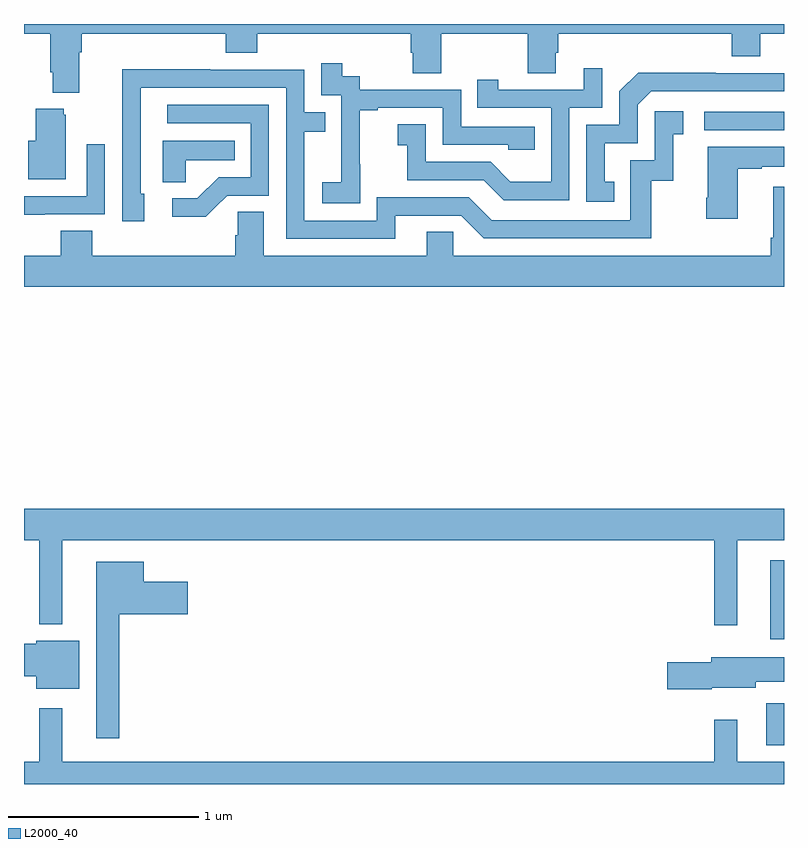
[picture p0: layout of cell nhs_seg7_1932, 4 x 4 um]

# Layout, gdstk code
import gdstk
lib = gdstk.Library(unit=1e-6, precision=1e-09)
def R(c, l, rs):  # rectangles x0, y0, x1, y1
    for r in rs: c.add(gdstk.rectangle(r[:2], r[2:], *l))
def P(c, l, *ps):  # polygons
    for p in ps: c.add(gdstk.Polygon(p, *l))
L2000_40 = (2000, 40)

nhs_seg7_1932 = lib.new_cell('nhs_seg7_1932')
R(nhs_seg7_1932, L2000_40, [(244.907,998.205,245,998.425), (244.928,998.762,245,999.178), (244.581,1001.442,245,1001.538)])
P(nhs_seg7_1932, L2000_40, [(241.291,1001.852),(241.304,1001.852),(241.304,1001.948),(242.063,1001.948),(242.063,1001.849),(242.228,1001.849),(242.228,1001.948),(243.035,1001.948),(243.035,1001.85),(243.047,1001.85),(243.047,1001.74),(243.195,1001.74),(243.195,1001.948),(243.652,1001.948),(243.652,1001.74),(243.799,1001.74),(243.799,1001.85),(243.812,1001.85),(243.812,1001.948),(244.724,1001.948),(244.724,1001.831),(244.876,1001.831),(244.876,1001.948),(245,1001.948),(245,1002),(241,1002),(241,1001.948),(241.139,1001.948),(241.139,1001.746),(241.151,1001.746),(241.151,1001.639),(241.291,1001.639)],
  [(242.769,1001.263),(242.768,1001.263),(242.768,1001.547),(242.863,1001.547),(242.863,1001.559),(243.204,1001.559),(243.204,1001.364),(243.549,1001.364),(243.549,1001.337),(243.689,1001.337),(243.689,1001.46),(243.3,1001.46),(243.3,1001.655),(242.766,1001.655),(242.766,1001.724),(242.674,1001.724),(242.674,1001.794),(242.565,1001.794),(242.565,1001.625),(242.67,1001.625),(242.67,1001.396),(242.669,1001.396),(242.669,1001.167),(242.571,1001.167),(242.571,1001.057),(242.769,1001.057)],
  [(243.87,1001.559),(244.044,1001.559),(244.044,1001.767),(243.947,1001.767),(243.947,1001.655),(243.496,1001.655),(243.496,1001.707),(243.385,1001.707),(243.385,1001.559),(243.774,1001.559),(243.774,1001.17),(243.56,1001.17),(243.456,1001.274),(243.114,1001.274),(243.114,1001.473),(242.967,1001.473),(242.967,1001.363),(243.016,1001.363),(243.016,1001.178),(243.419,1001.178),(243.524,1001.073),(243.87,1001.073)],
  [(242.953,1000.992),(243.3,1000.992),(243.42,1000.872),(244.3,1000.872),(244.3,1001.175),(244.418,1001.175),(244.418,1001.421),(244.471,1001.421),(244.471,1001.542),(244.32,1001.542),(244.32,1001.283),(244.191,1001.283),(244.191,1000.968),(243.462,1000.968),(243.342,1001.088),(242.856,1001.088),(242.856,1000.965),(242.475,1000.965),(242.475,1001.434),(242.585,1001.434),(242.585,1001.535),(242.475,1001.535),(242.475,1001.76),(241.979,1001.76),(241.979,1001.762),(241.516,1001.762),(241.516,1001.455),(241.518,1001.455),(241.518,1000.962),(241.633,1000.962),(241.633,1001.106),(241.614,1001.106),(241.614,1001.664),(242.379,1001.664),(242.379,1000.869),(242.953,1000.869)],
  [(244.106,1001.169),(244.057,1001.169),(244.057,1001.373),(244.23,1001.373),(244.23,1001.574),(244.302,1001.646),(245,1001.646),(245,1001.742),(244.64,1001.742),(244.64,1001.744),(244.232,1001.744),(244.134,1001.646),(244.134,1001.469),(243.96,1001.469),(243.96,1001.064),(244.106,1001.064)],
  [(242.005,1001.032),(242.07,1001.097),(242.289,1001.097),(242.289,1001.574),(241.755,1001.574),(241.755,1001.478),(242.193,1001.478),(242.193,1001.193),(242.024,1001.193),(241.913,1001.082),(241.779,1001.082),(241.779,1000.985),(241.957,1000.985)],
  [(241.219,1001.523),(241.208,1001.523),(241.208,1001.554),(241.061,1001.554),(241.061,1001.386),(241.022,1001.386),(241.022,1001.183),(241.219,1001.183)],
  [(241.851,1001.282),(242.108,1001.282),(242.108,1001.386),(241.73,1001.386),(241.73,1001.167),(241.851,1001.167)],
  [(241.109,1000.998),(241.425,1000.998),(241.425,1001.368),(241.329,1001.368),(241.329,1001.094),(241,1001.094),(241,1000.997),(241.109,1000.997)],
  [(244.756,1001.239),(244.883,1001.239),(244.883,1001.249),(245,1001.249),(245,1001.353),(244.598,1001.353),(244.598,1001.086),(244.591,1001.086),(244.591,1000.974),(244.756,1000.974)],
  [(245,1001.143),(244.943,1001.143),(244.943,1000.876),(244.931,1000.876),(244.931,1000.78),(243.258,1000.78),(243.258,1000.907),(243.119,1000.907),(243.119,1000.78),(242.263,1000.78),(242.263,1001.012),(242.124,1001.012),(242.124,1000.889),(242.111,1000.889),(242.111,1000.78),(241.358,1000.78),(241.358,1000.913),(241.193,1000.913),(241.193,1000.78),(241,1000.78),(241,1000.616),(245,1000.616)],
  [(244.753,999.284),(245,999.284),(245,999.448),(241,999.448),(241,999.284),(241.08,999.284),(241.08,998.84),(241.201,998.84),(241.201,999.284),(244.632,999.284),(244.632,998.835),(244.753,998.835)],
  [(241.501,998.894),(241.861,998.894),(241.861,999.064),(241.63,999.064),(241.63,999.169),(241.379,999.169),(241.379,998.241),(241.501,998.241)],
  [(241.291,998.755),(241.064,998.755),(241.064,998.738),(241,998.738),(241,998.566),(241.064,998.566),(241.064,998.501),(241.291,998.501)],
  [(244.62,998.507),(244.852,998.507),(244.852,998.539),(245,998.539),(245,998.668),(244.616,998.668),(244.616,998.642),(244.386,998.642),(244.386,998.5),(244.62,998.5)],
  [(245,998.116),(244.753,998.116),(244.753,998.338),(244.632,998.338),(244.632,998.116),(241.201,998.116),(241.201,998.398),(241.08,998.398),(241.08,998.116),(241,998.116),(241,998),(245,998)])

lib.write_gds('nhs_seg7_1932.gds')
